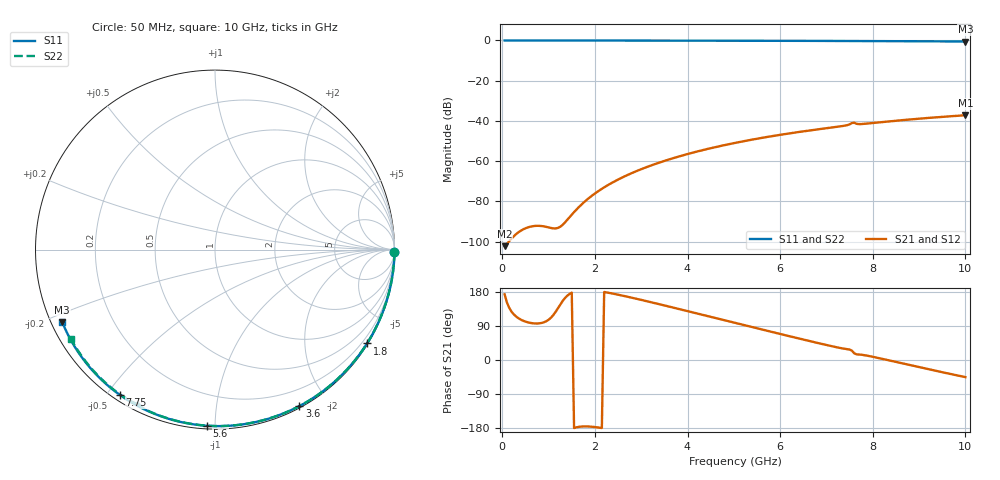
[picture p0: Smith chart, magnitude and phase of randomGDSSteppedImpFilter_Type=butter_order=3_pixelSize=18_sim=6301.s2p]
! freq	dB(S11)	phase(S11)	dB(S12)	phase(S12)
!  dB(S21)	phase(S21)	dB(S22)	phase(S22)
!S-par simulation data
#  GHz  S  DB  R 50
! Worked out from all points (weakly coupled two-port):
!   200 points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, 50 MHz to 10 GHz, reference 50 ohm
!   highest |S21| = -37.17 dB at 10 GHz (marker M1); lowest = -102.2 dB at 50 MHz (marker M2)
!   lowest |S11| = -0.5 dB at 10 GHz (marker M3), VSWR 33.46, Z = 1.57 - j11.2 ohm
!   |S11| at or under -10 dB: nowhere
!   |S22| runs from -0.5 to 0.0 dB; largest |S21 - S12| = 0
!   S11 on the Smith chart (normalised r, x): 50 MHz: open; 1.8 GHz: 0.03, -3.53; 3.6 GHz: 0.02, -1.67; 5.6 GHz: 0.02, -0.96; 7.75 GHz: 0.02, -0.54; 10 GHz: 0.03, -0.22
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0.05  -0.00 -0.9  -102.21 173.4  -102.21 173.4  -0.00 -0.9
0.85  -0.02 -15.1  -92.21 97.8  -92.21 97.8  -0.02 -14.5
1.75  -0.04 -30.8  -80.68 -175.3  -80.68 -175.3  -0.04 -29.6
1.8  -0.04 -31.7  -79.66 -175.2  -79.66 -175.2  -0.04 -30.4
2.1  -0.05 -36.8  -74.45 -178.6  -74.45 -178.6  -0.05 -35.3
2.45  -0.05 -42.7  -69.71 173.6  -69.71 173.6  -0.05 -41.0
2.9  -0.07 -50.3  -64.89 161.5  -64.89 161.5  -0.06 -48.2
3.4  -0.08 -58.5  -60.61 147.0  -60.61 147.0  -0.07 -56.1
3.6  -0.08 -61.7  -59.12 141.0  -59.12 141.0  -0.08 -59.2
4.3  -0.10 -72.8  -54.64 119.9  -54.64 119.9  -0.10 -69.9
5.05  -0.13 -84.3  -50.79 97.2  -50.79 97.2  -0.12 -81.0
5.6  -0.15 -92.5  -48.42 80.7  -48.42 80.7  -0.15 -89.0
6.7  -0.21 -108.5  -44.52 48.1  -44.52 48.1  -0.20 -104.3
7.4  -0.26 -118.4  -42.32 29.4  -42.32 29.4  -0.26 -114.1
7.5  -0.27 -119.8  -41.68 27.5  -41.68 27.5  -0.31 -115.8
7.55  -0.27 -120.5  -41.03 24.8  -41.03 24.8  -0.41 -116.5
7.6  -0.27 -121.2  -40.91 17.6  -40.91 17.6  -0.46 -116.2
7.65  -0.28 -121.9  -41.41 15.0  -41.41 15.0  -0.37 -116.5
7.75  -0.29 -123.2  -41.54 14.0  -41.54 14.0  -0.31 -118.0
8.35  -0.34 -131.6  -40.21 -0.9  -40.21 -0.9  -0.33 -126.3
9.2  -0.42 -143.4  -38.49 -24.2  -38.49 -24.2  -0.41 -137.6
10  -0.52 -154.6  -37.17 -45.2  -37.17 -45.2  -0.50 -148.3
